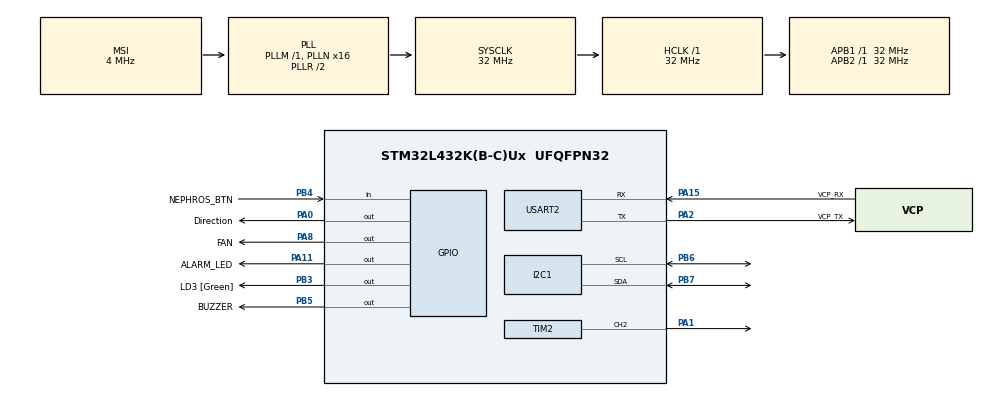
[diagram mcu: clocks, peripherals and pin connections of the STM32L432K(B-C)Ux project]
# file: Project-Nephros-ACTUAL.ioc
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Mcu.Family=STM32L4
Mcu.Name=STM32L432K(B-C)Ux
Mcu.Package=UFQFPN32
NVIC.PriorityGroup=NVIC_PRIORITYGROUP_4
PA0.GPIO_Label=Direction
PA0.Signal=GPIO_Output
PA1.Signal=S_TIM2_CH2
PA11.GPIO_Label=ALARM_LED
PA11.Signal=GPIO_Output
PA13\ (JTMS-SWDIO).GPIO_Label=SWDIO
PA13\ (JTMS-SWDIO).Mode=Serial_Wire
PA13\ (JTMS-SWDIO).Signal=SYS_JTMS-SWDIO
PA14\ (JTCK-SWCLK).GPIO_Label=SWCLK
PA14\ (JTCK-SWCLK).Mode=Serial_Wire
PA14\ (JTCK-SWCLK).Signal=SYS_JTCK-SWCLK
PA15\ (JTDI).GPIO_Label=VCP_RX
PA15\ (JTDI).Mode=Asynchronous
PA15\ (JTDI).Signal=USART2_RX
PA2.GPIO_Label=VCP_TX
PA2.Mode=Asynchronous
PA2.Signal=USART2_TX
PA8.GPIO_Label=FAN
PA8.Signal=GPIO_Output
PB3\ (JTDO-TRACESWO).GPIO_Label=LD3 [Green]
PB3\ (JTDO-TRACESWO).Signal=GPIO_Output
PB4\ (NJTRST).GPIO_Label=NEPHROS_BTN
PB4\ (NJTRST).GPIO_PuPd=GPIO_PULLUP
PB4\ (NJTRST).Signal=GPIO_Input
PB5.GPIO_Label=BUZZER
PB5.Signal=GPIO_Output
PB6.Mode=I2C
PB6.Signal=I2C1_SCL
PB7.Mode=I2C
PB7.Signal=I2C1_SDA
PC14-OSC32_IN\ (PC14).Mode=LSE-External-Oscillator
PC14-OSC32_IN\ (PC14).Signal=RCC_OSC32_IN
PC15-OSC32_OUT\ (PC15).Mode=LSE-External-Oscillator
PC15-OSC32_OUT\ (PC15).Signal=RCC_OSC32_OUT
ProjectManager.HeapSize=0x200
ProjectManager.StackSize=0x400
ProjectManager.TargetToolchain=STM32CubeIDE
RCC.ADCFreq_Value=32000000
RCC.AHBFreq_Value=32000000
RCC.APB1Freq_Value=32000000
RCC.APB1TimFreq_Value=32000000
RCC.APB2Freq_Value=32000000
RCC.APB2TimFreq_Value=32000000
RCC.CortexFreq_Value=32000000
RCC.HCLKFreq_Value=32000000
RCC.HSE_VALUE=8000000
RCC.HSI16_VALUE=16000000
RCC.HSI48_VALUE=48000000
RCC.HSI_VALUE=16000000
RCC.MSI_VALUE=4000000
RCC.PLLMUL=RCC_PLLMUL_4
RCC.PLLN=16
RCC.PLLSAI1N=16
RCC.SYSCLKFreq_VALUE=32000000
RCC.SYSCLKSource=RCC_SYSCLKSOURCE_PLLCLK
RCC.USBFreq_Value=32000000
RCC.VCOOutputFreq_Value=64000000
SH.S_TIM2_CH2.0=TIM2_CH2,PWM Generation2 CH2
TIM1.Prescaler=72-1
TIM2.Channel-PWM\ Generation2\ CH2=TIM_CHANNEL_2
TIM2.Period=1000000-1
TIM2.Prescaler=80-1
USART2.VirtualMode-Asynchronous=VM_ASYNC
VP_TIM1_VS_ClockSourceINT.Mode=Internal
board=NUCLEO-L432KC

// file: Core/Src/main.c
/* USER CODE BEGIN Header */
/**
  ******************************************************************************
  * @file           : main.c
  * @brief          : Main program body
  ******************************************************************************
  * @attention
  *
  * Copyright (c) 2026 STMicroelectronics.
  * All rights reserved.
  *
  * This software is licensed under terms that can be found in the LICENSE file
  * in the root directory of this software component.
  * If no LICENSE file comes with this software, it is provided AS-IS.
  *
  ******************************************************************************
  */
/* USER CODE END Header */
#include "main.h"
#include "i2c.h"
#include "tim.h"
#include "usart.h"
#include "gpio.h"

/* USER CODE BEGIN Includes */
#include "PumpMotor.h"
#include "StateMachine.h"
#include "nephros_ui.h"
#include "nephros_safety.h"
#include "liquidcrystal_i2c.h"

#include <string.h>
#include <stdio.h>
#include <math.h>
#include <stdbool.h>
#include <stdlib.h>
#include <ctype.h>
#include <stdint.h>
#include <errno.h>
/* USER CODE END Includes */

/* USER CODE BEGIN PV */

static NephrosSensorData sensor_data =
{
    .temperature_c = 36.5f,
    .pressure = 150U,
    .air_detected = false
};

static NephrosSetup setup_data;

//TIMER VARIABLES
uint32_t lastAlarmLCDCheck = 0;
static uint32_t end_message_hold_ms = 0U;
static bool lcd_message_active = false;
static bool pending_button_press = false;
/* USER CODE END PV */

void SystemClock_Config(void);
/* USER CODE BEGIN PFP */
static void read_sensors(NephrosSensorData *sensor);
/* USER CODE END PFP */

int main(void)
{

  /* USER CODE BEGIN 1 */

  /*THIS NEEDS TO BE FIXED
   * MODIFIED:
   * Original manual ARR test variables were removed from main.c.
   * Motor speed settings are now handled inside PumpMotor.c.
   *
   * ADDED:
   * main.c now focuses on state-machine control:
   * start ramp -> PID test -> end ramp -> stopped.
   */

  char startMessage[] =
      "Pump motor PID test started. Using placeholder flow values.\r\n";

  /* USER CODE END 1 */

  /* MCU Configuration--------------------------------------------------------*/

  /* Reset of all peripherals, Initializes the Flash interface and the Systick. */
  HAL_Init();

  /* Configure the system clock */
  SystemClock_Config();

  /* Initialize all configured peripherals */
  MX_GPIO_Init();
  MX_USART2_UART_Init();
  MX_I2C1_Init();
  MX_TIM1_Init();
  MX_TIM2_Init();
  /* USER CODE BEGIN 2 */
    /* USER CODE BEGIN 2 */
  /* USER CODE BEGIN 2 */

  NephrosUI_Init();

  NephrosUI_ShowBoot();

  NephrosUI_ShowConsolePrompt();

  NephrosUI_RunStartupMenu(&setup_data);

  NephrosUI_ShowSetupComplete(&setup_data);

  NephrosSafety_Init(NephrosUI_Write);

    /*
   * Existing motor initialisation.
   *
   * MODIFIED:
   * MotorValuesInit() now starts from slow ARR instead of high speed.
   */
  MotorValuesInit();

  /*
   * Start PWM output.
   * The motor begins at slow ARR, then StartPump() ramps it up.
   */
  StartMotorPWM();

  /*
   * UART message to confirm the program has started.
   */
  HAL_UART_Transmit(
      &huart2,
      (uint8_t*)startMessage,
      strlen(startMessage),
      100
  );

  //PrintMotorStatus(); //FIXME Need to figure out what we'll do in the actual code or whatever. as this wont work

  /* USER CODE END 2 */

  /* Infinite loop */
  /* USER CODE BEGIN WHILE */
    while (1)
    {
    	uint32_t currentTick = HAL_GetTick();

    	    /*
    	     * Always check the button quickly.
    	     * If a press happens, remember it until the 20 ms control block uses it.
    	     */
    	    if (NephrosUI_ButtonPressed(currentTick))
    	    {
    	        pending_button_press = true;
    	    }

    	    /*
    	     * Run safety/UI logic every 20 ms.
    	     */
    	    if (currentTick - lastAlarmLCDCheck >= 20U)
    	    {
    	        bool button_pressed;
    	        NephrosSafetyOutput safety_output;

    	        lastAlarmLCDCheck = currentTick;

    	        /*
    	         * Use the stored button press once.
    	         */
    	        button_pressed = pending_button_press;
    	        pending_button_press = false;

    	        read_sensors(&sensor_data);

    	        safety_output = NephrosSafety_Update(
    	            &sensor_data,
    	            button_pressed,
    	            currentTick
    	        );

    	        /*
    	         * Emergency stop handling.
    	         */
    	        if (safety_output.halted)
    	        {
    	            SetState(STATE_EMERGENCY_STOP);
    	        }

    	        /*
    	         * Resume handling.
    	         */
    	        if (safety_output.resume_requested)
    	        {
    	            MotorValuesInit();
    	            StartMotorPWM();
    	            SetState(STATE_START_MOTOR_RAMP);
    	        }

    	        /*
    	         * Run motor state machine after safety decision.
    	         */
    	        RunStateMachine(currentTick);

    	        /*
    	         * LCD message handling.
    	         */
    	        if (safety_output.lcd_message_valid)
    	        {
    	            NephrosUI_ShowMessage(
    	                safety_output.lcd_line1,
    	                safety_output.lcd_line2
    	            );

    	            lcd_message_active = true;
    	            end_message_hold_ms =
    	                currentTick + safety_output.message_hold_ms;
    	        }
    	        else if (lcd_message_active &&
    	                 currentTick >= end_message_hold_ms)
    	        {
    	            lcd_message_active = false;
    	            NephrosUI_ForceRedraw();
    	        }
    	        else if (!lcd_message_active)
    	        {
    	            if (safety_output.force_normal_lcd_redraw)
    	            {
    	                NephrosUI_ForceRedraw();
    	            }

    	            if (safety_output.can_cycle_lcd_view)
    	            {
    	                if (button_pressed)
    	                {
    	                    NephrosUI_NextView();
    	                }

    	                NephrosUI_ShowNormalIfChanged(&sensor_data);

            }
        }

      }

    /* USER CODE END WHILE */

    }
}

void SystemClock_Config(void)
{
  RCC_OscInitTypeDef RCC_OscInitStruct = {0};
  RCC_ClkInitTypeDef RCC_ClkInitStruct = {0};

  /** Configure the main internal regulator output voltage
  */
  if (HAL_PWREx_ControlVoltageScaling(PWR_REGULATOR_VOLTAGE_SCALE1) != HAL_OK)
  {
    Error_Handler();
  }

  /** Configure LSE Drive Capability
  */
  HAL_PWR_EnableBkUpAccess();
  __HAL_RCC_LSEDRIVE_CONFIG(RCC_LSEDRIVE_LOW);

  /** Initializes the RCC Oscillators according to the specified parameters
  * in the RCC_OscInitTypeDef structure.
  */
  RCC_OscInitStruct.OscillatorType = RCC_OSCILLATORTYPE_LSE|RCC_OSCILLATORTYPE_MSI;
  RCC_OscInitStruct.LSEState = RCC_LSE_ON;
  RCC_OscInitStruct.MSIState = RCC_MSI_ON;
  RCC_OscInitStruct.MSICalibrationValue = 0;
  RCC_OscInitStruct.MSIClockRange = RCC_MSIRANGE_6;
  RCC_OscInitStruct.PLL.PLLState = RCC_PLL_ON;
  RCC_OscInitStruct.PLL.PLLSource = RCC_PLLSOURCE_MSI;
  RCC_OscInitStruct.PLL.PLLM = 1;
  RCC_OscInitStruct.PLL.PLLN = 16;
  RCC_OscInitStruct.PLL.PLLP = RCC_PLLP_DIV7;
  RCC_OscInitStruct.PLL.PLLQ = RCC_PLLQ_DIV2;
  RCC_OscInitStruct.PLL.PLLR = RCC_PLLR_DIV2;
  if (HAL_RCC_OscConfig(&RCC_OscInitStruct) != HAL_OK)
  {
    Error_Handler();
  }

  /** Initializes the CPU, AHB and APB buses clocks
  */
  RCC_ClkInitStruct.ClockType = RCC_CLOCKTYPE_HCLK|RCC_CLOCKTYPE_SYSCLK
                              |RCC_CLOCKTYPE_PCLK1|RCC_CLOCKTYPE_PCLK2;
  RCC_ClkInitStruct.SYSCLKSource = RCC_SYSCLKSOURCE_PLLCLK;
  RCC_ClkInitStruct.AHBCLKDivider = RCC_SYSCLK_DIV1;
  RCC_ClkInitStruct.APB1CLKDivider = RCC_HCLK_DIV1;
  RCC_ClkInitStruct.APB2CLKDivider = RCC_HCLK_DIV1;

  if (HAL_RCC_ClockConfig(&RCC_ClkInitStruct, FLASH_LATENCY_1) != HAL_OK)
  {
    Error_Handler();
  }

  /** Enable MSI Auto calibration
  */
  HAL_RCCEx_EnableMSIPLLMode();
}

/* USER CODE BEGIN 4 */
static void read_sensors(NephrosSensorData *sensor)
{
    /*
     * For now, this function does nothing because we are using
     * the debugger to edit sensor_data manually.
     *
     * Later, Group A sensor code should update:
     * sensor->temperature_c
     * sensor->pressure
     * sensor->air_detected
     */

    (void)sensor;
}
/* USER CODE END 4 */

void Error_Handler(void)
{
  __disable_irq();
  while (1)
  {
  }
}
